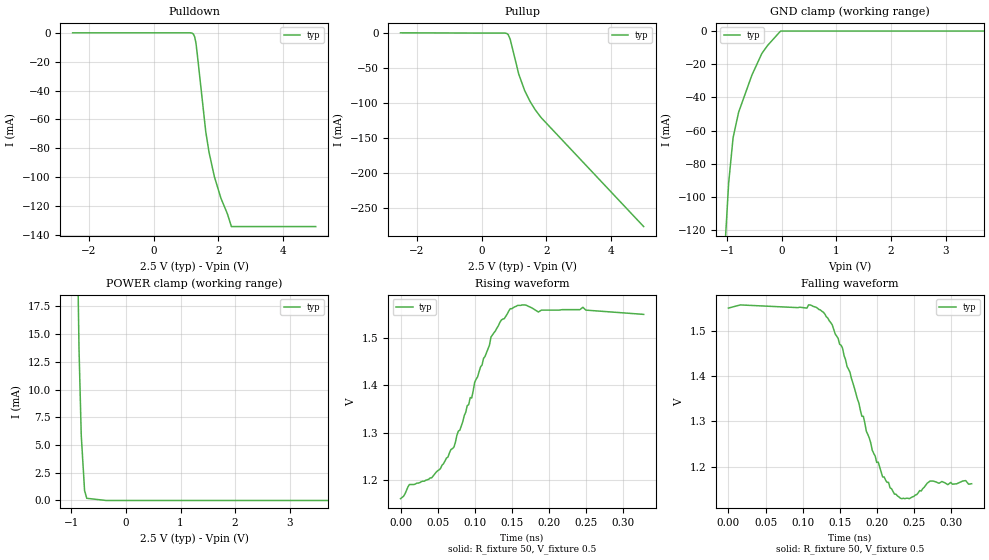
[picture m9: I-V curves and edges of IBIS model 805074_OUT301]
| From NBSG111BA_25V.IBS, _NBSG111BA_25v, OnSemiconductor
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| COPYRIGHT(C) MENTOR GRAPHICS CORPORATION 2001 ALL
| RIGHTS RESERVED. THIS WORK CONTAINS PROPRIETARY
| INFORMATION WHICH IS THE PROPERTY OF MENTOR GRAPHICS
| CORPORATION OR ITS LICENSORS. USE OF THESE MATERIALS
| IS SUBJECT TO THE TERMS BELOW.
| USE: YOU MAY USE IBIS MODELS SOLELY FOR DEVELOPING
| PRINTED CIRCUIT BOARD DESIGNS. NO OTHER USE OR
| DISTRIBUTION OF THESE MATERIALS IS PERMITTED.
| Model Application Version 1.89 2/18/99.
[Model] 805074_OUT301
Model_type Output_ECL
Vref=500.0mV
Rref=50.00ohms
Cref=0.000F
Vmeas=1.200V
C_comp 500.0fF NA NA
| variable typ   min   max
[Voltage Range] 2.500V NA NA
[POWER Clamp Reference] 2.500V NA NA
[Pullup Reference] 2.500V NA NA
[Pulldown Reference] 2.500V NA NA
[GND Clamp Reference] 0.000V NA NA
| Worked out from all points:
|   GND clamp passes 1 mA (typ) near -0.05 V on its own axis
|   POWER clamp passes 1 mA (typ) near -0.76 V on its own axis
|   rising waveform, R_fixture 50, V_fixture 0.5: 20-80 % time 57.4ps typ, NA min, NA max; typ from 1.16 V to 1.55 V
|   falling waveform, R_fixture 50, V_fixture 0.5: 20-80 % time 43.9ps typ, NA min, NA max; typ from 1.55 V to 1.16 V
[GND Clamp]
-2.5V     -1.155A    NA         NA
-1.074V   -148.8mA   NA         NA
-973mV    -91.4mA    NA         NA
-892mV    -64.2mA    NA         NA
-791mV    -48.9mA    NA         NA
-547mV    -26.5mA    NA         NA
-365mV    -13.5mA    NA         NA
-263mV    -8.8mA     NA         NA
-41mV     -700uA     NA         NA
-20.5mV   0A         NA         NA
5V        0A         NA         NA
[Pulldown]
-2.5V     0A         NA         NA
1.142V    0A         NA         NA
1.223V    -800uA     NA         NA
1.264V    -2.7mA     NA         NA
1.304V    -7mA       NA         NA
1.608V    -68.7mA    NA         NA
1.709V    -82.9mA    NA         NA
1.872V    -99.6mA    NA         NA
2.074V    -114.6mA   NA         NA
2.277V    -125.6mA   NA         NA
2.398V    -134.3mA   NA         NA
5V        -134.3mA   NA         NA
[Pullup]
-2.5V     357.9uA    NA         NA
782mV     -700uA     NA         NA
823mV     -2.4mA     NA         NA
884mV     -9.1mA     NA         NA
1.147V    -58.9mA    NA         NA
1.329V    -82.4mA    NA         NA
1.492V    -97.7mA    NA         NA
1.654V    -109.9mA   NA         NA
1.836V    -121.1mA   NA         NA
5V        -277.3mA   NA         NA
[POWER Clamp]
-2.5V     545mA      NA         NA
-860mV    13.68mA    NA         NA
-819mV    5.883mA    NA         NA
-758mV    891.3uA    NA         NA
-718mV    197uA      NA         NA
-359mV    0A         NA         NA
5V        0A         NA         NA
[Ramp]
| variable typ min max
dV/dt_r 214.8m/52.51p NA NA
dV/dt_f 214.8m/45.88p NA NA
R_load = 50.00Ohms
[Rising Waveform]
R_fixture = 50
V_fixture = 0.5
| Time   V(typ)  V(min)  V(max)
0s        1.16V      NA         NA
12ps      1.19V      NA         NA
42ps      1.204V     NA         NA
72ps      1.269V     NA         NA
122ps     1.502V     NA         NA
148ps     1.562V     NA         NA
168ps     1.57V      NA         NA
186ps     1.555V     NA         NA
246ps     1.565V     NA         NA
328ps     1.55V      NA         NA
[Falling Waveform]
R_fixture = 50
V_fixture = 0.5
| Time   V(typ)  V(min)  V(max)
0s        1.55V      NA         NA
110ps     1.557V     NA         NA
128ps     1.541V     NA         NA
140ps     1.513V     NA         NA
154ps     1.461V     NA         NA
200ps     1.209V     NA         NA
224ps     1.139V     NA         NA
244ps     1.129V     NA         NA
272ps     1.168V     NA         NA
328ps     1.162V     NA         NA
